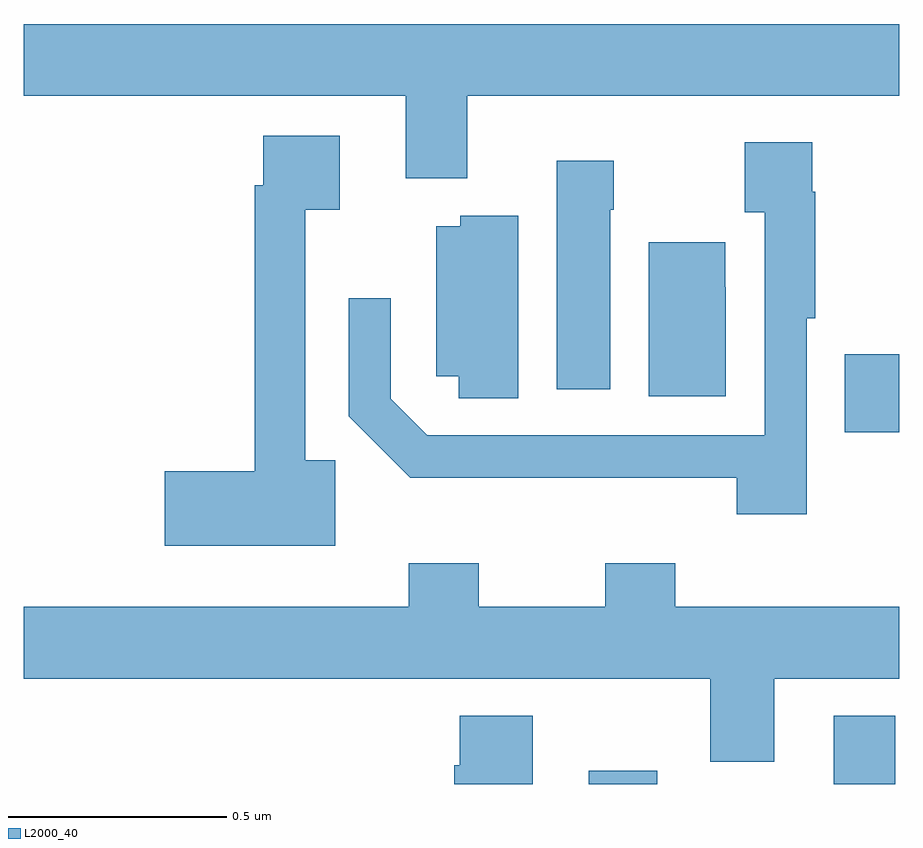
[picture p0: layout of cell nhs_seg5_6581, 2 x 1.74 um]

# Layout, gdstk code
import gdstk
lib = gdstk.Library(unit=1e-6, precision=1e-09)
def R(c, l, rs):  # rectangles x0, y0, x1, y1
    for r in rs: c.add(gdstk.rectangle(r[:2], r[2:], *l))
def P(c, l, *ps):  # polygons
    for p in ps: c.add(gdstk.Polygon(p, *l))
L2000_40 = (2000, 40)

nhs_seg5_6581 = lib.new_cell('nhs_seg5_6581')
R(nhs_seg5_6581, L2000_40, [(198.291,909.799,198.447,909.829), (198.851,909.799,198.991,909.955), (198.876,910.603,199,910.781)])
P(nhs_seg5_6581, L2000_40, [(198.013,911.372),(199,911.372),(199,911.536),(197,911.536),(197,911.372),(197.873,911.372),(197.873,911.183),(198.013,911.183)],
  [(197.712,910.539),(197.643,910.539),(197.643,911.111),(197.722,911.111),(197.722,911.281),(197.547,911.281),(197.547,911.168),(197.527,911.168),(197.527,910.514),(197.322,910.514),(197.322,910.343),(197.712,910.343)],
  [(198.789,910.864),(198.809,910.864),(198.809,911.153),(198.802,911.153),(198.802,911.266),(198.647,911.266),(198.647,911.106),(198.693,911.106),(198.693,910.596),(197.922,910.596),(197.838,910.68),(197.838,910.909),(197.742,910.909),(197.742,910.64),(197.883,910.499),(198.629,910.499),(198.629,910.416),(198.789,910.416)],
  [(198.34,911.111),(198.348,911.111),(198.348,911.224),(198.218,911.224),(198.218,910.701),(198.34,910.701)],
  [(198.13,911.098),(197.997,911.098),(197.997,911.074),(197.942,911.074),(197.942,910.731),(197.994,910.731),(197.994,910.681),(198.13,910.681)],
  [(198.604,910.934),(198.603,910.934),(198.603,911.037),(198.428,911.037),(198.428,910.685),(198.604,910.685)],
  [(198.715,910.04),(199,910.04),(199,910.204),(198.488,910.204),(198.488,910.303),(198.328,910.303),(198.328,910.204),(198.039,910.204),(198.039,910.303),(197.879,910.303),(197.879,910.204),(197,910.204),(197,910.04),(198.568,910.04),(198.568,909.85),(198.715,909.85)],
  [(198.163,909.955),(197.996,909.955),(197.996,909.842),(197.984,909.842),(197.984,909.799),(198.163,909.799)])

lib.write_gds('nhs_seg5_6581.gds')
